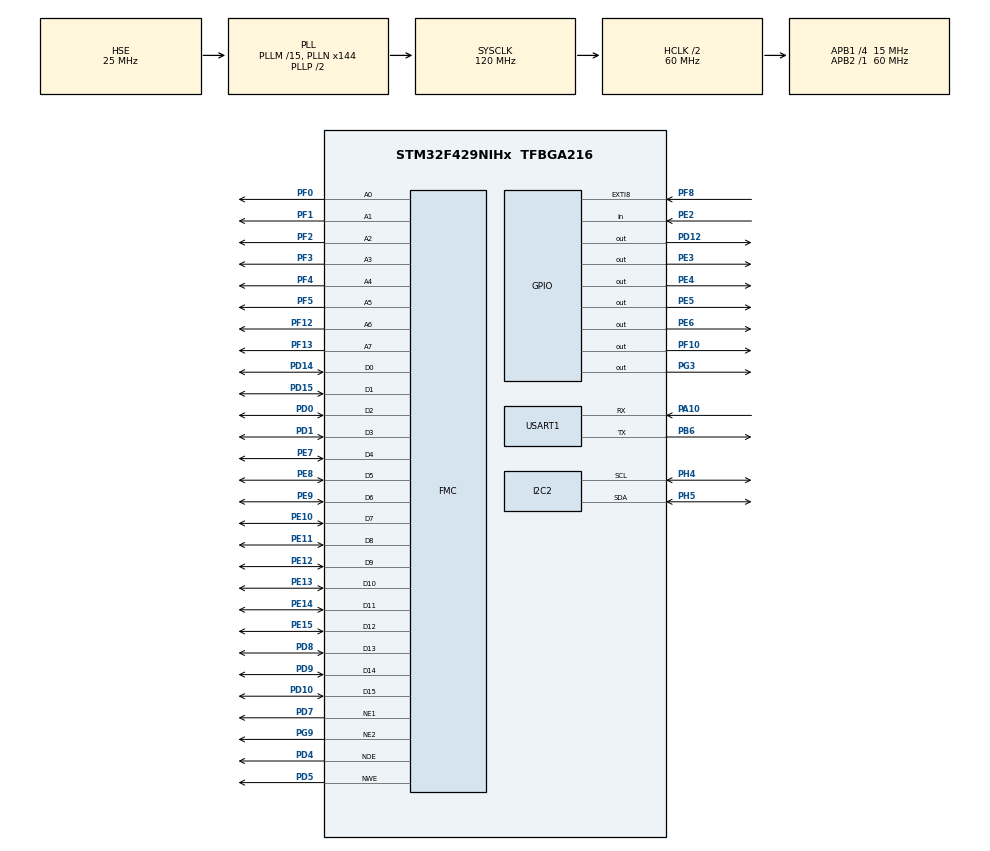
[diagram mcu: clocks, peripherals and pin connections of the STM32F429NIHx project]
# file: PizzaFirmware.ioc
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FMC.WriteOperation1=FMC_WRITE_OPERATION_ENABLE
FMC.WriteOperation2=FMC_WRITE_OPERATION_ENABLE
I2C2.OwnAddress=0x42
Mcu.Family=STM32F4
Mcu.Name=STM32F429NIHx
Mcu.Package=TFBGA216
NVIC.EXTI9_5_IRQn=true\:0\:0\:false\:false\:true\:true\:true\:true
NVIC.PriorityGroup=NVIC_PRIORITYGROUP_4
NVIC.TIM2_IRQn=true\:0\:0\:false\:false\:true\:true\:true\:true
PA10.Mode=Asynchronous
PA10.Signal=USART1_RX
PB14.Signal=USB_OTG_HS_DM
PB15.Signal=USB_OTG_HS_DP
PB6.Mode=Asynchronous
PB6.Signal=USART1_TX
PD0.Signal=FMC_D2_DA2
PD1.Signal=FMC_D3_DA3
PD10.Signal=FMC_D15_DA15
PD12.Signal=GPIO_Output
PD14.Signal=FMC_D0_DA0
PD15.Signal=FMC_D1_DA1
PD4.Signal=FMC_NOE
PD5.Signal=FMC_NWE
PD7.Mode=NorPsramChipSelect1_1
PD7.Signal=FMC_NE1
PD8.Signal=FMC_D13_DA13
PD9.Signal=FMC_D14_DA14
PE10.Signal=FMC_D7_DA7
PE11.Signal=FMC_D8_DA8
PE12.Signal=FMC_D9_DA9
PE13.Signal=FMC_D10_DA10
PE14.Signal=FMC_D11_DA11
PE15.Signal=FMC_D12_DA12
PE2.Signal=GPIO_Input
PE3.GPIO_Speed=GPIO_SPEED_FREQ_HIGH
PE3.Signal=GPIO_Output
PE4.GPIO_Speed=GPIO_SPEED_FREQ_HIGH
PE4.Signal=GPIO_Output
PE5.GPIO_Speed=GPIO_SPEED_FREQ_HIGH
PE5.Signal=GPIO_Output
PE6.GPIO_Speed=GPIO_SPEED_FREQ_HIGH
PE6.Signal=GPIO_Output
PE7.Signal=FMC_D4_DA4
PE8.Signal=FMC_D5_DA5
PE9.Signal=FMC_D6_DA6
PF0.Signal=FMC_A0
PF1.Signal=FMC_A1
PF10.Signal=GPIO_Output
PF12.Signal=FMC_A6
PF13.Signal=FMC_A7
PF2.Signal=FMC_A2
PF3.Signal=FMC_A3
PF4.Signal=FMC_A4
PF5.Signal=FMC_A5
PF8.Signal=GPXTI8
PG3.Signal=GPIO_Output
PG9.Mode=NorPsramChipSelect2_2
PG9.Signal=FMC_NE2
PH0/OSC_IN.Mode=HSE-External-Oscillator
PH0/OSC_IN.Signal=RCC_OSC_IN
PH1/OSC_OUT.Mode=HSE-External-Oscillator
PH1/OSC_OUT.Signal=RCC_OSC_OUT
PH4.Mode=I2C
PH4.Signal=I2C2_SCL
PH5.Mode=I2C
PH5.Signal=I2C2_SDA
ProjectManager.HeapSize=0x200
ProjectManager.StackSize=0x400
ProjectManager.TargetToolchain=STM32CubeIDE
RCC.48MHZClocksFreq_Value=48000000
RCC.AHBCLKDivider=RCC_SYSCLK_DIV2
RCC.AHBFreq_Value=60000000
RCC.APB1CLKDivider=RCC_HCLK_DIV4
RCC.APB1Freq_Value=15000000
RCC.APB1TimFreq_Value=30000000
RCC.APB2Freq_Value=60000000
RCC.APB2TimFreq_Value=60000000
RCC.CortexFreq_Value=60000000
RCC.HCLKFreq_Value=60000000
RCC.HSE_VALUE=25000000
RCC.HSI_VALUE=16000000
RCC.LSE_VALUE=32768
RCC.PLLM=15
RCC.PLLN=144
RCC.PLLQ=5
RCC.PLLSourceVirtual=RCC_PLLSOURCE_HSE
RCC.SYSCLKFreq_VALUE=120000000
RCC.SYSCLKSource=RCC_SYSCLKSOURCE_PLLCLK
RCC.VCOOutputFreq_Value=240000000
SH.FMC_A0.0=FMC_A0,8b-a2
SH.FMC_A0.1=FMC_A0,8b-a1
SH.FMC_A1.0=FMC_A1,8b-a2
SH.FMC_A1.1=FMC_A1,8b-a1
SH.FMC_A2.0=FMC_A2,8b-a2
SH.FMC_A2.1=FMC_A2,8b-a1
SH.FMC_A3.0=FMC_A3,8b-a2
SH.FMC_A3.1=FMC_A3,8b-a1
SH.FMC_A4.0=FMC_A4,8b-a2
SH.FMC_A4.1=FMC_A4,8b-a1
SH.FMC_A5.0=FMC_A5,8b-a2
SH.FMC_A5.1=FMC_A5,8b-a1
SH.FMC_A6.0=FMC_A6,8b-a2
SH.FMC_A6.1=FMC_A6,8b-a1
SH.FMC_A7.0=FMC_A7,8b-a2
SH.FMC_A7.1=FMC_A7,8b-a1
SH.FMC_D0_DA0.0=FMC_D0,16b-d1
SH.FMC_D0_DA0.1=FMC_D0,16b-d2
SH.FMC_D10_DA10.0=FMC_D10,16b-d1
SH.FMC_D10_DA10.1=FMC_D10,16b-d2
SH.FMC_D11_DA11.0=FMC_D11,16b-d1
SH.FMC_D11_DA11.1=FMC_D11,16b-d2
SH.FMC_D12_DA12.0=FMC_D12,16b-d1
SH.FMC_D12_DA12.1=FMC_D12,16b-d2
SH.FMC_D13_DA13.0=FMC_D13,16b-d1
SH.FMC_D13_DA13.1=FMC_D13,16b-d2
SH.FMC_D14_DA14.0=FMC_D14,16b-d1
SH.FMC_D14_DA14.1=FMC_D14,16b-d2
SH.FMC_D15_DA15.0=FMC_D15,16b-d1
SH.FMC_D15_DA15.1=FMC_D15,16b-d2
SH.FMC_D1_DA1.0=FMC_D1,16b-d1
SH.FMC_D1_DA1.1=FMC_D1,16b-d2
SH.FMC_D2_DA2.0=FMC_D2,16b-d1
SH.FMC_D2_DA2.1=FMC_D2,16b-d2
SH.FMC_D3_DA3.0=FMC_D3,16b-d1
SH.FMC_D3_DA3.1=FMC_D3,16b-d2
SH.FMC_D4_DA4.0=FMC_D4,16b-d1
SH.FMC_D4_DA4.1=FMC_D4,16b-d2
SH.FMC_D5_DA5.0=FMC_D5,16b-d1
SH.FMC_D5_DA5.1=FMC_D5,16b-d2
SH.FMC_D6_DA6.0=FMC_D6,16b-d1
SH.FMC_D6_DA6.1=FMC_D6,16b-d2
SH.FMC_D7_DA7.0=FMC_D7,16b-d1
SH.FMC_D7_DA7.1=FMC_D7,16b-d2
SH.FMC_D8_DA8.0=FMC_D8,16b-d1
SH.FMC_D8_DA8.1=FMC_D8,16b-d2
SH.FMC_D9_DA9.0=FMC_D9,16b-d1
SH.FMC_D9_DA9.1=FMC_D9,16b-d2
SH.FMC_NOE.0=FMC_NOE,Sram1
SH.FMC_NOE.1=FMC_NOE,Sram2
SH.FMC_NWE.0=FMC_NWE,Sram1
SH.FMC_NWE.1=FMC_NWE,Sram2
TIM2.Period=2000
TIM2.Prescaler=30000
USART1.VirtualMode=VM_ASYNC
VP_RNG_VS_RNG.Mode=RNG_Activate
VP_TIM2_VS_ClockSourceINT.Mode=Internal
VP_TIM2_VS_OPM.Mode=OPM_bit
board=custom

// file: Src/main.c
/* USER CODE BEGIN Header */
/**
 ******************************************************************************
 * @file           : main.c
 * @brief          : Main program body
 ******************************************************************************
 * @attention
 *
 * Copyright (c) 2024 STMicroelectronics.
 * All rights reserved.
 *
 * This software is licensed under terms that can be found in the LICENSE file
 * in the root directory of this software component.
 * If no LICENSE file comes with this software, it is provided AS-IS.
 *
 ******************************************************************************
 */
/* USER CODE END Header */
#include "main.h"
#include "i2c.h"
#include "rng.h"
#include "tim.h"
#include "usart.h"
#include "gpio.h"
#include "fmc.h"

/* USER CODE BEGIN Includes */
#include <string.h>
#include <stdlib.h>
#include <stdio.h>
#include <stdint.h>
#include "stm32f4xx_hal_flash.h"

#include "menu.h"
#include "FPGA.h"
#include "FPGA_Setup.h"
/* USER CODE END Includes */

/* USER CODE BEGIN PD */
#define PROGRAM_FPGA
#define FIRMWARE_FPGA_PROGRAM_VERSION 0x01
#define LED1_GPIO GPIOG
#define LED1_PIN GPIO_PIN_3
#define LED2_GPIO GPIOF
#define LED2_PIN GPIO_PIN_10
#define LED3_GPIO GPIOD
#define LED3_PIN GPIO_PIN_12
/* USER CODE END PD */

void SystemClock_Config(void);

/* USER CODE BEGIN 0 */
#define FLASH_USER_START_ADDR 0x081E0000 // Start address of the reserved flash
#define FLASH_USER_END_ADDR 0x081FFFFF   // End address of the reserved flash

void WriteFlash(uint32_t offset, uint32_t data)
{
  HAL_FLASH_Unlock(); // Unlock flash memory for writing

  // Erase the sector before writing. In this case, Sector 23 is 128Kb
  FLASH_Erase_Sector(FLASH_SECTOR_23, VOLTAGE_RANGE_3);

  // Write a word (32-bit) to the specified address
  HAL_FLASH_Program(TYPEPROGRAM_WORD, FLASH_USER_START_ADDR + offset, data);

  HAL_FLASH_Lock();
}

uint32_t ReadFlash(uint32_t offset)
{
  return *(uint32_t *)FLASH_USER_START_ADDR + offset; // Read the data from flash address
}
/* USER CODE END 0 */

int main(void)
{

  /* MCU Configuration--------------------------------------------------------*/

  /* Reset of all peripherals, Initializes the Flash interface and the Systick. */
  HAL_Init();

  /* Configure the system clock */
  SystemClock_Config();

  /* Initialize all configured peripherals */
  MX_GPIO_Init();
  MX_FMC_Init();
  MX_USART1_UART_Init();
  MX_RNG_Init();
  MX_TIM2_Init();
  MX_I2C2_Init();
  /* USER CODE BEGIN 2 */
  FPGA_init();

  // Disable buffering for stdin or else scanf will not work
  setvbuf(stdin, NULL, _IONBF, 0);

  HAL_GPIO_WritePin(LED3_GPIO, LED3_PIN, 1);
  HAL_GPIO_WritePin(LED1_GPIO, LED1_PIN, 1);

  uint32_t current_fpga_program_version = ReadFlash(0);
  printf("FPGA Program version: 0x%X\r\n", current_fpga_program_version);
  printf("Available Program version: 0x%X\r\n", FIRMWARE_FPGA_PROGRAM_VERSION);

  if (current_fpga_program_version != FIRMWARE_FPGA_PROGRAM_VERSION)
  {
#ifdef PROGRAM_FPGA
    printf("Outdated FPGA Program, updating...\r\n");
    int32_t r_fpga = B5_FPGA_Programming();
    if (r_fpga != 0)
    {
      HAL_GPIO_WritePin(LED2_GPIO, LED2_PIN, 1);
      printf("Error programming FPGA\r\n");
      Error_Handler();
    }
    WriteFlash(0, FIRMWARE_FPGA_PROGRAM_VERSION);
    printf("Programmed FPGA\r\n");
    current_fpga_program_version = ReadFlash(0);
    printf("New FPGA Program version: 0x%X\r\n", current_fpga_program_version);
#else
    printf("Outdated FPGA Program, but PROGRAM_FPGA is disabled\r\n");
#endif
  }

  HAL_GPIO_WritePin(LED1_GPIO, LED1_PIN, 0);

  /* USER CODE END 2 */

  /* Infinite loop */
  /* USER CODE BEGIN WHILE */
  menu();
  while (1)
  {
    /* USER CODE END WHILE */

  }
}

void SystemClock_Config(void)
{
  RCC_OscInitTypeDef RCC_OscInitStruct = {0};
  RCC_ClkInitTypeDef RCC_ClkInitStruct = {0};

  /** Configure the main internal regulator output voltage
   */
  __HAL_RCC_PWR_CLK_ENABLE();
  __HAL_PWR_VOLTAGESCALING_CONFIG(PWR_REGULATOR_VOLTAGE_SCALE3);

  /** Initializes the RCC Oscillators according to the specified parameters
   * in the RCC_OscInitTypeDef structure.
   */
  RCC_OscInitStruct.OscillatorType = RCC_OSCILLATORTYPE_HSE;
  RCC_OscInitStruct.HSEState = RCC_HSE_ON;
  RCC_OscInitStruct.PLL.PLLState = RCC_PLL_ON;
  RCC_OscInitStruct.PLL.PLLSource = RCC_PLLSOURCE_HSE;
  RCC_OscInitStruct.PLL.PLLM = 15;
  RCC_OscInitStruct.PLL.PLLN = 144;
  RCC_OscInitStruct.PLL.PLLP = RCC_PLLP_DIV2;
  RCC_OscInitStruct.PLL.PLLQ = 5;
  if (HAL_RCC_OscConfig(&RCC_OscInitStruct) != HAL_OK)
  {
    Error_Handler();
  }

  /** Initializes the CPU, AHB and APB buses clocks
   */
  RCC_ClkInitStruct.ClockType = RCC_CLOCKTYPE_HCLK | RCC_CLOCKTYPE_SYSCLK | RCC_CLOCKTYPE_PCLK1 | RCC_CLOCKTYPE_PCLK2;
  RCC_ClkInitStruct.SYSCLKSource = RCC_SYSCLKSOURCE_PLLCLK;
  RCC_ClkInitStruct.AHBCLKDivider = RCC_SYSCLK_DIV2;
  RCC_ClkInitStruct.APB1CLKDivider = RCC_HCLK_DIV4;
  RCC_ClkInitStruct.APB2CLKDivider = RCC_HCLK_DIV1;

  if (HAL_RCC_ClockConfig(&RCC_ClkInitStruct, FLASH_LATENCY_1) != HAL_OK)
  {
    Error_Handler();
  }
}

void Error_Handler(void)
{
  /* USER CODE BEGIN Error_Handler_Debug */
  /* User can add his own implementation to report the HAL error return state */
  //__disable_irq();

  printf("ERROR\r\n");
  while (1)
  {
  }
  /* USER CODE END Error_Handler_Debug */
}
